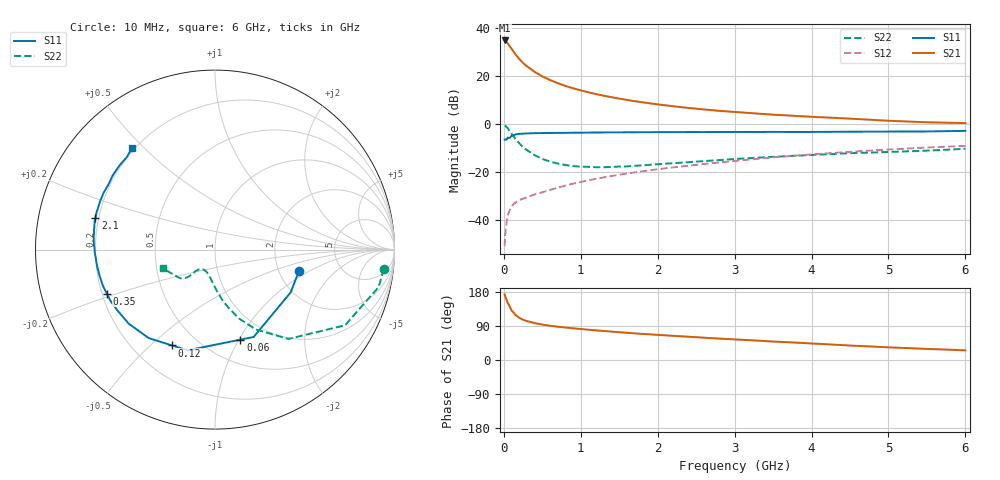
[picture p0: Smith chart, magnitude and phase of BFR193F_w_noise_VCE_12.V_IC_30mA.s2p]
! Infineon Technologies  Discrete & RF Semiconductors
! BFR193F
! VCE =  12. V,  IC =  30 mA
! Common Emitter S-Parameters:  Jan 2017
# GHz  S  MA  R  50
!  f  S11  S21  S12  S22
! GHz  MAG  ANG  MAG  ANG  MAG  ANG  MAG  ANG
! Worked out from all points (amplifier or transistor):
!   77 points, 10 MHz to 6 GHz, reference 50 ohm
!   highest |S21| = 35.0 dB at 10 MHz (marker M1)
!   |S21| within 3 dB of that: start of sweep to 89.24 MHz
!   unconditionally stable (mu >= 1): 1.179 GHz to 2.696 GHz
!   at 130 MHz: K = 0.35, MSG = 31.7 dB, |S12| = -33.2 dB
!   at 2.2 GHz: K = 1.02, MAG = 11.9 dB, |S12| = -17.9 dB
!   at 6 GHz: K = 0.84, MSG = 4.7 dB, |S12| = -8.9 dB
!   lowest NFmin = 1.18 dB at 450 MHz
!   S11 on the Smith chart (normalised r, x): 10 MHz: 2.59, -0.79; 60 MHz: 0.74, -1.02; 120 MHz: 0.36, -0.59; 350 MHz: 0.22, -0.19; 2.1 GHz: 0.19, +0.12; 6 GHz: 0.19, +0.46
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0.01  0.4832 -14.0  56.04 173.1  0.0029 77.3  0.9466 -6.5
0.02  0.4843 -29.5  54.35 166.7  0.0054 79.2  0.9354 -12.9
0.05  0.5322 -66.1  49.05 150.3  0.0125 65.3  0.8384 -30.2
0.06  0.5212 -74.2  46.41 147.2  0.0139 61.9  0.7928 -33.4
0.1  0.5816 -105.2  37.68 130.6  0.0197 53.2  0.6444 -50.6
0.12  0.5851 -114.1  34.02 126.7  0.0212 51.7  0.583 -54.8
0.15  0.6159 -126.8  28.94 119.0  0.0235 49.9  0.4987 -63.0
0.2  0.6335 -139.3  23.11 111.4  0.0265 47.6  0.4054 -70.9
0.25  0.6407 -148.1  19.03 106.3  0.0283 48.3  0.3349 -76.7
0.3  0.6485 -153.8  16.19 102.6  0.0302 49.4  0.29 -81.2
0.35  0.6507 -157.9  14.27 100.3  0.0325 50.7  0.2584 -84.1
0.4  0.6562 -161.9  12.37 97.2  0.0348 51.8  0.2276 -87.8
0.5  0.6591 -167.1  10.01 93.5  0.0385 55.2  0.1906 -93.0
0.6  0.6624 -171.0  8.402 90.4  0.043 58.1  0.1674 -97.6
0.8  0.6662 -176.4  6.337 85.7  0.0532 62.7  0.1422 -105.9
1.1  0.6752 177.6  4.652 79.9  0.0686 66.7  0.1304 -114.8
1.5  0.6809 172.0  3.445 73.4  0.0892 69.6  0.132 -124.1
2.1  0.6893 165.3  2.497 65.1  0.1215 71.2  0.1515 -130.9
3.1  0.6944 156.5  1.768 53.3  0.1788 71.2  0.194 -133.3
4.1  0.697 147.7  1.415 42.6  0.2427 68.3  0.2341 -137.3
5.1  0.7091 137.7  1.173 32.6  0.3053 63.5  0.2694 -148.8
6  0.7326 129.1  1.065 25.5  0.3569 58.5  0.3099 -160.4
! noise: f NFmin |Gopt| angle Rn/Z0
0.45  1.18  0.39  176  0.06
0.9  1.27  0.42  176  0.07
1.9  1.84  0.57  -168  0.07
2.4  2.13  0.61  -159  0.11
